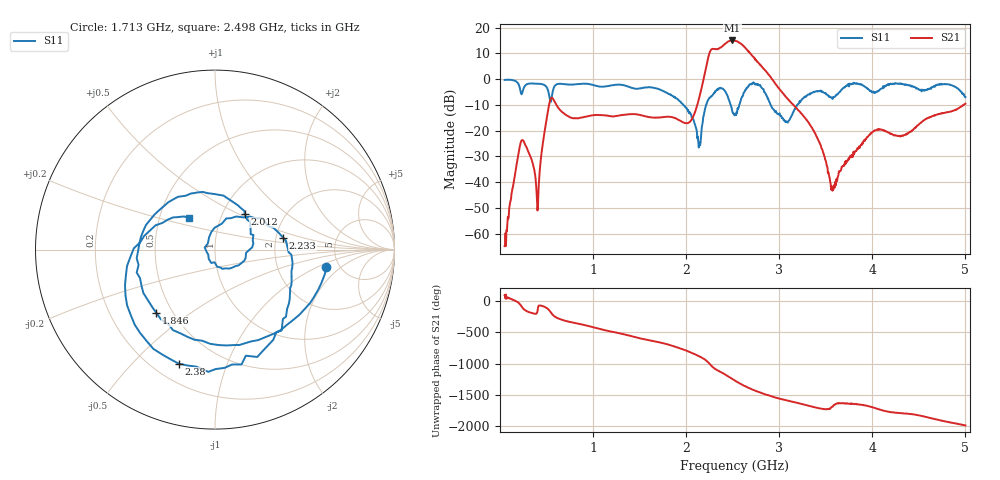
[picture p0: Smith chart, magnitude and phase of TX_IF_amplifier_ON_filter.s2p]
# HZ S RI R 50
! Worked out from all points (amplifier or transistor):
!   1010 points, 50 MHz to 5 GHz, reference 50 ohm
!   highest |S21| = 15.0 dB at 2.498 GHz (marker M1)
!   |S21| within 3 dB of that: 2.359 GHz to 2.639 GHz (279.7 MHz wide, 11.2 % of centre)
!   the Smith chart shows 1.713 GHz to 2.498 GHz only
!   S11 on the Smith chart (normalised r, x): 1.713 GHz: 3.94, -1.29; 1.846 GHz: 0.41, -0.37; 2.012 GHz: 1.27, +0.54; 2.233 GHz: 2.19, +0.34; 2.38 GHz: 0.30, -0.69; 2.498 GHz: 0.71, +0.26
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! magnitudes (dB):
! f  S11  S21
! 50 MHz  -0.3  -64.9
! 231.5 MHz  -5.9  -23.8
! 334.5 MHz  -1.7  -30.7
! 398.3 MHz  -1.7  -47.2
! 550.4 MHz  -8.3  -7.3
! 879.1 MHz  -1.8  -14.9
! 1.703 GHz  -3.8  -14.9
! 1.713 GHz  -4.0  -14.9
! 1.846 GHz  -6.4  -14.7
! 2.012 GHz  -11.8  -17.1
! 2.14 GHz  -26.4  -7.4
! 2.233 GHz  -8.3  7.7
! 2.38 GHz  -3.5  12.5
! 2.498 GHz  -12.8  15.0
! 2.527 GHz  -13.6  14.9
! 2.704 GHz  -1.7  9.3
! 3.072 GHz  -16.3  -6.9
! 3.352 GHz  -5.3  -18.8
! 3.582 GHz  -6.9  -42.9
! 3.965 GHz  -4.1  -21.8
! 4.176 GHz  -2.4  -20.8
! 5 GHz  -7.0  -9.6
